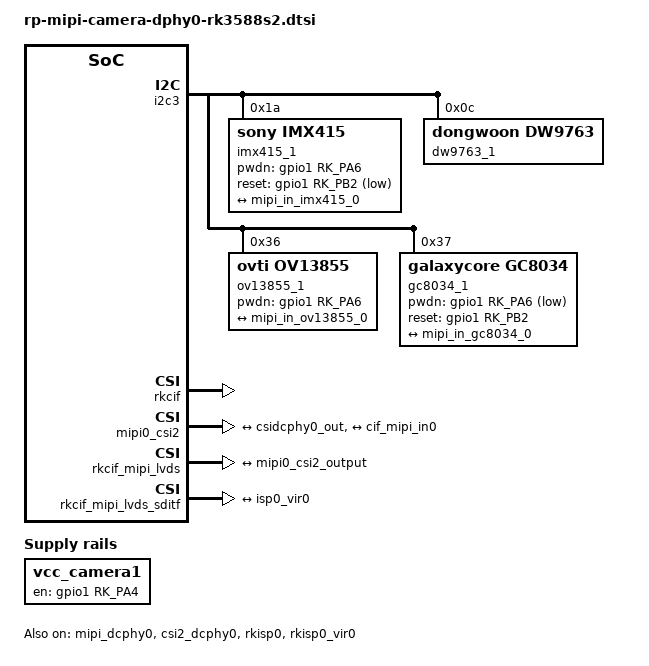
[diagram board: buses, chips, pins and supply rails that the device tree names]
/{
    vcc_camera1: vcc-camera-regulator1 {
                compatible = "regulator-fixed";
                gpio = <&gpio1 RK_PA4 GPIO_ACTIVE_HIGH>;
                pinctrl-names = "default";
                pinctrl-0 = <&camera_pwr1>;
                regulator-name = "vcc_camera1";
                enable-active-high;
                regulator-always-on;
                regulator-boot-on;
    };
};
        
    &pinctrl {
                camera_pwr1: camera-pwr1 {
                        rockchip,pins =
                                /* camera power en */
                                <1 RK_PA4 3 &pcfg_pull_down>;
                };
};

&i2c3 {
        status = "okay";
        pinctrl-names = "default";
        pinctrl-0 = <&i2c3m1_xfer>;


		imx415_1: imx415_1@1a {
        	compatible = "sony,imx415";
        	status = "okay";
        	reg = <0x1a>;
        	clocks = <&cru CLK_MIPI_CAMARAOUT_M1>;
        	clock-names = "xvclk";
        	power-domains = <&power RK3588_PD_VI>;
        	pinctrl-names = "default";
        	pinctrl-0 = <&mipim1_camera1_clk>;
        	rockchip,grf = <&sys_grf>;
        	pwdn-gpios = <&gpio1 RK_PA6 GPIO_ACTIVE_HIGH>;
        	//power-gpios = <&gpio1 RK_PA4 GPIO_ACTIVE_HIGH>;
        	reset-gpios = <&gpio1 RK_PB2 GPIO_ACTIVE_LOW>;
        	rockchip,camera-module-index = <1>;
        	rockchip,camera-module-facing = "BACK";
        	rockchip,camera-module-name = "CMK-OT2022-PX1";
        	rockchip,camera-module-lens-name = "IR0147-50IRC-8M-F20";
        	port {
            	imx415_out0: endpoint {
                	remote-endpoint = <&mipi_in_imx415_0>;
                	data-lanes = <1 2 3 4>;
           		};
        	};
    	};
		dw9763_1: dw9763_1@c {
          	compatible = "dongwoon,dw9763";
            status = "okay";
            reg = <0x0c>;
            rockchip,vcm-max-current = <120>;
            rockchip,vcm-start-current = <20>;
            rockchip,vcm-rated-current = <90>;
            rockchip,vcm-step-mode = <3>;
            rockchip,vcm-t-src = <0x20>;
            rockchip,vcm-t-div = <1>;
            rockchip,camera-module-index = <3>;
            rockchip,camera-module-facing = "back";
        };

    	ov13855_1: ov13855_1@36 {
        	compatible = "ovti,ov13855";
        	status = "okay";
        	reg = <0x36>;
        	clocks = <&cru CLK_MIPI_CAMARAOUT_M1>;
        	clock-names = "xvclk";
        	power-domains = <&power RK3588_PD_VI>;
        	pinctrl-names = "default";
        	pinctrl-0 = <&mipim1_camera1_clk>;
        	rockchip,grf = <&sys_grf>;
        	pwdn-gpios = <&gpio1 RK_PA6 GPIO_ACTIVE_HIGH>;
        	rockchip,camera-module-index = <1>;
        	rockchip,camera-module-facing = "back";
        	rockchip,camera-module-name = "CMK-OT2016-FV1";
        	rockchip,camera-module-lens-name = "default";
        	lens-focus = <&dw9763_1>;
        	port {
            	ov13855_out0: endpoint {
                	remote-endpoint = <&mipi_in_ov13855_0>;
                	data-lanes = <1 2 3 4>;
            	};
        	};
    	};
	
		gc8034_1: gc8034_1@37 {
                compatible = "galaxycore,gc8034";
                status = "okay";
                reg = <0x37>;
                clocks = <&cru CLK_MIPI_CAMARAOUT_M1>;
                clock-names = "xvclk";
                power-domains = <&power RK3588_PD_VI>;
                pinctrl-names = "default";
                pinctrl-0 = <&mipim1_camera1_clk>;
                rockchip,grf = <&sys_grf>;
                pwdn-gpios = <&gpio1 RK_PA6 GPIO_ACTIVE_LOW>;
				reset-gpios = <&gpio1 RK_PB2 GPIO_ACTIVE_HIGH>;
                rockchip,camera-module-index = <1>;
                rockchip,camera-module-facing = "back";
                rockchip,camera-module-name = "RK-CMK-8M-2-v1";
                rockchip,camera-module-lens-name = "CK8401-4";
                port {
                        gc8034_out0: endpoint {
                                remote-endpoint = <&mipi_in_gc8034_0>;
                                data-lanes = <1 2 3 4>;
                        };
                };
        };
	
};

&mipi_dcphy0 {
    status = "okay";
};

&csi2_dcphy0 {
        status = "okay";

        ports {
                #address-cells = <1>;
                #size-cells = <0>;
                port@0 {
                        reg = <0>;
                        #address-cells = <1>;
                        #size-cells = <0>;

                        mipi_in_imx415_0: endpoint@1 {
                                reg = <1>;
                                remote-endpoint = <&imx415_out0>;
                                data-lanes = <1 2 3 4>;
                        };
						mipi_in_ov13855_0: endpoint@2 {
                                reg = <2>;
                                remote-endpoint = <&ov13855_out0>;
                                data-lanes = <1 2 3 4>;
                        };
						mipi_in_gc8034_0: endpoint@3 {
                                reg = <3>;
                                remote-endpoint = <&gc8034_out0>;
                                data-lanes = <1 2 3 4>;
                        };
                };
                port@1 {
                        reg = <1>;
                        #address-cells = <1>;
                        #size-cells = <0>;

                        csidcphy0_out: endpoint@0 {
                                reg = <0>;
                                remote-endpoint = <&mipi0_csi2_input>;
                        };
                };
        };
};


&rkcif {
        status = "okay";
};

&rkcif_mmu {
        status = "okay";
};

&rkisp0 {
    status = "okay";
};

&isp0_mmu {
    status = "okay";
};


// isp
&mipi0_csi2 {
	status = "okay";

	ports {
		#address-cells = <1>;
		#size-cells = <0>;

		port@0 {
			reg = <0>;
			#address-cells = <1>;
			#size-cells = <0>;

			mipi0_csi2_input: endpoint@1 {
				reg = <1>;
				remote-endpoint = <&csidcphy0_out>;
			};
		};

		port@1 {
			reg = <1>;
			#address-cells = <1>;
			#size-cells = <0>;

			mipi0_csi2_output: endpoint@0 {
				reg = <0>;
				remote-endpoint = <&cif_mipi_in0>;
			};
		};
	};
};


&rkcif_mipi_lvds {
	status = "okay";
	port {
		cif_mipi_in0: endpoint {
			remote-endpoint = <&mipi0_csi2_output>;
		};
	};
};


&rkcif_mipi_lvds_sditf {
	status = "okay";
	port {
		mipi_lvds_sditf: endpoint {
			remote-endpoint = <&isp0_vir0>;
		};
	};
};


&rkisp0_vir0 {
	status = "okay";
	port {
		#address-cells = <1>;
		#size-cells = <0>;

		isp0_vir0: endpoint@1 {
			reg = <1>;
			remote-endpoint = <&mipi_lvds_sditf>;
		};
	};
};


